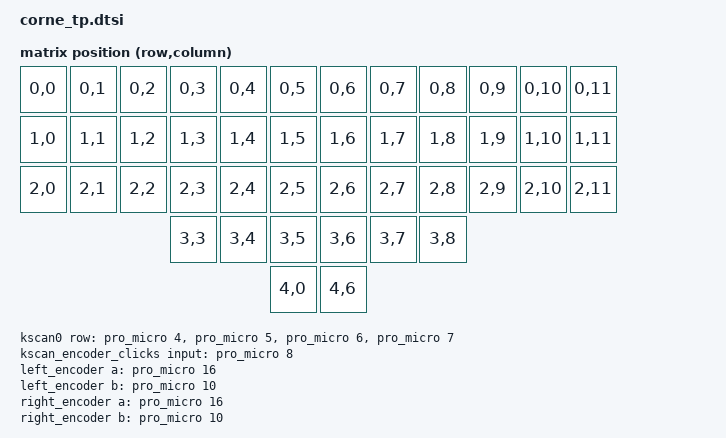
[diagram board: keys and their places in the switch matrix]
/*
 * Corne TP shield base — derived from the upstream Corne shield
 * (zmk/app/boards/shields/corne/corne.dtsi), with:
 *   - OLED node removed (no display on this build)
 *   - kscan-composite added so encoder push-switches can sit alongside the matrix
 *   - one rotary encoder per half (alps,ec11) declared but disabled — each
 *     side overlay enables only its own encoder
 *   - matrix-transform extended with two extra positions for the encoder clicks
 */

#include <dt-bindings/zmk/matrix_transform.h>

/ {
    chosen {
        /*
         * EXPERIMENT: chosen kscan is the matrix directly, not the composite.
         *   - This fork's zmk,kscan-composite.yaml binding does not accept the
         *     wakeup-source property, so we cannot make the composite itself
         *     wakeup-capable in DT.
         *   - kscan_composite_disable_callback cascades SUSPEND to its children
         *     and forcibly clears wakeup-enable on them — so even pointing the
         *     physical-layout at &kscan0 would lose wakeup once composite is
         *     suspended.
         *   - Bypassing the composite (and disabling its node below) cleanly
         *     proves whether the physical-layout + wakeup-enable mechanism
         *     restores System-OFF wake.
         * Side effect: encoder push-switches stop firing (no composite to
         * route kscan_encoder_clicks events into the keymap). Encoder rotation
         * still works (separate sensor path). Acceptable for this test.
         */
        zmk,kscan = &kscan0;
        zmk,matrix-transform = &default_transform;
        /*
         * physical-layout pointer is what makes zmk_physical_layouts_init
         * (app/src/physical_layouts.c:472-481) call pm_device_wakeup_enable()
         * on the layout's kscan at boot. With it set and kscan0 wakeup-capable
         * (wakeup-source declared on the kscan-gpio-matrix node below),
         * zmk_pm_suspend_devices (app/src/pm.c:46) skips kscan0 on deep-sleep
         * entry — GPIO interrupts stay armed, SENSE wakes the chip from
         * System OFF on the next key press.
         */
        zmk,physical-layout = &corne_tp_layout;
    };

    /*
     * Composite kscan kept declared so the device tree compiles cleanly
     * (corne_tp.dtsi is shared by both side overlays which reference these
     * labels), but disabled so it isn't instantiated as a Zephyr device.
     * No device → no PM action → no cascading suspend that would clobber the
     * wakeup-enable on kscan0.
     */
    kscan_composite: kscan_composite {
        compatible = "zmk,kscan-composite";
        status = "disabled";
        rows = <5>;
        columns = <12>;

        matrix {
            kscan = <&kscan0>;
        };

        encoder_clicks {
            kscan = <&kscan_encoder_clicks>;
            row-offset = <4>;
        };
    };

    /*
     * Minimal physical-layout. The `kscan` property is omitted, so it falls
     * back to the chosen zmk,kscan (= &kscan_composite). The `keys` array is
     * also omitted — we don't need ZMK Studio key-position metadata for the
     * deep-sleep wake path, only the layout-to-kscan link that triggers
     * pm_device_wakeup_enable() at init.
     */
    corne_tp_layout: corne_tp_layout {
        compatible = "zmk,physical-layout";
        display-name = "Corne TP";
        transform = <&default_transform>;
    };

    default_transform: keymap_transform_0 {
        compatible = "zmk,matrix-transform";
        columns = <12>;
        rows = <5>;
        /*
         * Rows 0-2: 6 per side (12 cols).
         * Row 3: 3 thumb keys per side.
         * Row 4: encoder click — col 0 is left, col 6 is right (after the
         *        per-side col-offset on the right overlay).
         */
        map = <
RC(0,0) RC(0,1) RC(0,2) RC(0,3) RC(0,4) RC(0,5)  RC(0,6) RC(0,7) RC(0,8) RC(0,9) RC(0,10) RC(0,11)
RC(1,0) RC(1,1) RC(1,2) RC(1,3) RC(1,4) RC(1,5)  RC(1,6) RC(1,7) RC(1,8) RC(1,9) RC(1,10) RC(1,11)
RC(2,0) RC(2,1) RC(2,2) RC(2,3) RC(2,4) RC(2,5)  RC(2,6) RC(2,7) RC(2,8) RC(2,9) RC(2,10) RC(2,11)
                        RC(3,3) RC(3,4) RC(3,5)  RC(3,6) RC(3,7) RC(3,8)
                                        RC(4,0)  RC(4,6)
        >;
    };

    kscan0: kscan {
        compatible = "zmk,kscan-gpio-matrix";
        wakeup-source;

        diode-direction = "col2row";
        row-gpios
            = <&pro_micro 4 (GPIO_ACTIVE_HIGH | GPIO_PULL_DOWN)>
            , <&pro_micro 5 (GPIO_ACTIVE_HIGH | GPIO_PULL_DOWN)>
            , <&pro_micro 6 (GPIO_ACTIVE_HIGH | GPIO_PULL_DOWN)>
            , <&pro_micro 7 (GPIO_ACTIVE_HIGH | GPIO_PULL_DOWN)>
            ;
    };

    /*
     * Encoder push-switch on D8 = P1.04.
     * Wired through gpio-direct so it produces a (row=0, col=0) event that
     * the composite shifts to row 4. The per-side overlay does not need to
     * touch this — both halves use the same pin and the matrix-transform's
     * col-offset takes care of separating left vs right clicks.
     */
    kscan_encoder_clicks: kscan_encoder_clicks {
        compatible = "zmk,kscan-gpio-direct";
        wakeup-source;
        input-gpios
            = <&pro_micro 8 (GPIO_ACTIVE_LOW | GPIO_PULL_UP)>
            ;
    };

    /* Encoder A on D16 = P0.10, B on D10 = P0.09 — same pins on both halves
     * for handwiring symmetry. Each side overlay enables only its own.
     *
     * steps = <40>: the MEH01 (Kailh 5 mm mouse encoder) emits 2 quadrature
     * transitions per detent click, not 4 like a tactile EC11. Verified
     * empirically: with the previous steps=<80>, 10 physical detents
     * produced 5 wheel events (4 transitions per trigger × 2 transitions
     * per detent = 8 transitions per trigger = 2 detents per trigger).
     * Halving steps to 40 gives 1 detent = 1 trigger = 1 wheel event. */
    left_encoder: left_encoder {
        compatible = "alps,ec11";
        a-gpios = <&pro_micro 16 (GPIO_ACTIVE_HIGH | GPIO_PULL_UP)>;
        b-gpios = <&pro_micro 10 (GPIO_ACTIVE_HIGH | GPIO_PULL_UP)>;
        steps = <40>;
        status = "disabled";
    };

    right_encoder: right_encoder {
        compatible = "alps,ec11";
        a-gpios = <&pro_micro 16 (GPIO_ACTIVE_HIGH | GPIO_PULL_UP)>;
        b-gpios = <&pro_micro 10 (GPIO_ACTIVE_HIGH | GPIO_PULL_UP)>;
        steps = <40>;
        status = "disabled";
    };

    sensors: sensors {
        compatible = "zmk,keymap-sensors";
        sensors = <&left_encoder &right_encoder>;
        triggers-per-rotation = <20>;
    };
};
